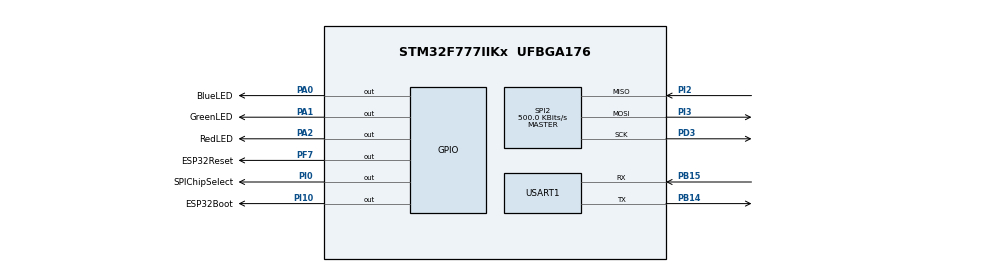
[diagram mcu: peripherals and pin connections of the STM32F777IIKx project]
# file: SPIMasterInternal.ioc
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Mcu.Family=STM32F7
Mcu.Name=STM32F777IIKx
Mcu.Package=UFBGA176
NVIC.PriorityGroup=NVIC_PRIORITYGROUP_4
NVIC.USART1_IRQn=true\:0\:0\:false\:false\:true\:true\:true
PA0/WKUP.GPIO_Label=BlueLED
PA0/WKUP.Signal=GPIO_Output
PA1.GPIO_Label=GreenLED
PA1.Signal=GPIO_Output
PA2.GPIO_Label=RedLED
PA2.Signal=GPIO_Output
PB14.Mode=Asynchronous
PB14.Signal=USART1_TX
PB15.Mode=Asynchronous
PB15.Signal=USART1_RX
PD3.Mode=Full_Duplex_Master
PD3.Signal=SPI2_SCK
PF7.GPIO_Label=ESP32Reset
PF7.GPIO_PuPd=GPIO_PULLUP
PF7.PinState=GPIO_PIN_SET
PF7.Signal=GPIO_Output
PI0.GPIO_Label=SPIChipSelect
PI0.PinState=GPIO_PIN_SET
PI0.Signal=GPIO_Output
PI10.GPIO_Label=ESP32Boot
PI10.GPIO_PuPd=GPIO_PULLUP
PI10.PinState=GPIO_PIN_SET
PI10.Signal=GPIO_Output
PI2.Mode=Full_Duplex_Master
PI2.Signal=SPI2_MISO
PI3.Mode=Full_Duplex_Master
PI3.Signal=SPI2_MOSI
ProjectManager.HeapSize=0x200
ProjectManager.StackSize=0x400
ProjectManager.TargetToolchain=Makefile
RCC.HSE_VALUE=25000000
RCC.HSI_VALUE=16000000
RCC.LSE_VALUE=32768
RCC.USBFreq_Value=96000000
RCC.VCOOutputFreq_Value=192000000
SPI2.BaudRatePrescaler=SPI_BAUDRATEPRESCALER_32
SPI2.CLKPhase=SPI_PHASE_2EDGE
SPI2.CLKPolarity=SPI_POLARITY_HIGH
SPI2.CalculateBaudRate=500.0 KBits/s
SPI2.DataSize=SPI_DATASIZE_8BIT
SPI2.Direction=SPI_DIRECTION_2LINES
SPI2.Mode=SPI_MODE_MASTER
SPI2.VirtualType=VM_MASTER
USART1.VirtualMode-Asynchronous=VM_ASYNC
board=custom

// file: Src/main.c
/* USER CODE BEGIN Header */
/**
  ******************************************************************************
  * @file           : main.c
  * @brief          : Main program body
  ******************************************************************************
  ** This notice applies to any and all portions of this file
  * that are not between comment pairs USER CODE BEGIN and
  * USER CODE END. Other portions of this file, whether
  * inserted by the user or by software development tools
  * are owned by their respective copyright owners.
  *
  * COPYRIGHT(c) 2019 STMicroelectronics
  *
  * Redistribution and use in source and binary forms, with or without modification,
  * are permitted provided that the following conditions are met:
  *   1. Redistributions of source code must retain the above copyright notice,
  *      this list of conditions and the following disclaimer.
  *   2. Redistributions in binary form must reproduce the above copyright notice,
  *      this list of conditions and the following disclaimer in the documentation
  *      and/or other materials provided with the distribution.
  *   3. Neither the name of STMicroelectronics nor the names of its contributors
  *      may be used to endorse or promote products derived from this software
  *      without specific prior written permission.
  *
  * THIS SOFTWARE IS PROVIDED BY THE COPYRIGHT HOLDERS AND CONTRIBUTORS "AS IS"
  * AND ANY EXPRESS OR IMPLIED WARRANTIES, INCLUDING, BUT NOT LIMITED TO, THE
  * IMPLIED WARRANTIES OF MERCHANTABILITY AND FITNESS FOR A PARTICULAR PURPOSE ARE
  * DISCLAIMED. IN NO EVENT SHALL THE COPYRIGHT HOLDER OR CONTRIBUTORS BE LIABLE
  * FOR ANY DIRECT, INDIRECT, INCIDENTAL, SPECIAL, EXEMPLARY, OR CONSEQUENTIAL
  * DAMAGES (INCLUDING, BUT NOT LIMITED TO, PROCUREMENT OF SUBSTITUTE GOODS OR
  * SERVICES; LOSS OF USE, DATA, OR PROFITS; OR BUSINESS INTERRUPTION) HOWEVER
  * CAUSED AND ON ANY THEORY OF LIABILITY, WHETHER IN CONTRACT, STRICT LIABILITY,
  * OR TORT (INCLUDING NEGLIGENCE OR OTHERWISE) ARISING IN ANY WAY OUT OF THE USE
  * OF THIS SOFTWARE, EVEN IF ADVISED OF THE POSSIBILITY OF SUCH DAMAGE.
  *
  ******************************************************************************
  */
/* USER CODE END Header */

#include "main.h"
#include "spi.h"
#include "usart.h"
#include "gpio.h"

/* USER CODE BEGIN Includes */

#include <string.h>
#include <stdio.h>

/* USER CODE END Includes */

void SystemClock_Config(void);

int main(void)
{

  /* MCU Configuration--------------------------------------------------------*/

  /* Reset of all peripherals, Initializes the Flash interface and the Systick. */
  HAL_Init();

  /* Configure the system clock */
  SystemClock_Config();

  /* Initialize all configured peripherals */
  MX_GPIO_Init();
  MX_USART1_UART_Init();
  MX_SPI2_Init();

  /* Infinite loop */
  /* USER CODE BEGIN WHILE */

    int bufferLength = 48;
    char sendBuffer[bufferLength];
    char receiveBuffer[bufferLength];
    int counter = 0;

    HAL_GPIO_WritePin(RedLED_GPIO_Port, RedLED_Pin, GPIO_PIN_SET);
    HAL_GPIO_WritePin(GreenLED_GPIO_Port, GreenLED_Pin, GPIO_PIN_SET);
    HAL_GPIO_WritePin(BlueLED_GPIO_Port, BlueLED_Pin, GPIO_PIN_SET);

    HAL_GPIO_WritePin(ESP32Boot_GPIO_Port, ESP32Boot_Pin, GPIO_PIN_SET);
    HAL_GPIO_WritePin(ESP32Reset_GPIO_Port, ESP32Reset_Pin, GPIO_PIN_RESET);
    HAL_Delay(1);
    HAL_GPIO_WritePin(ESP32Reset_GPIO_Port, ESP32Reset_Pin, GPIO_PIN_SET);
    HAL_GPIO_DeInit(ESP32Reset_GPIO_Port, ESP32Reset_Pin);

    while (1)
    {
      memset(sendBuffer, 0x00, sizeof(sendBuffer));
      memset(receiveBuffer, 0x00, bufferLength);
      snprintf(sendBuffer, bufferLength, "Hello, world %d", counter++);

      HAL_GPIO_WritePin(SPIChipSelect_GPIO_Port, SPIChipSelect_Pin, GPIO_PIN_RESET);
      HAL_Delay(6);
      HAL_SPI_TransmitReceive(&hspi2, (uint8_t *) sendBuffer, (uint8_t *) receiveBuffer, bufferLength, HAL_MAX_DELAY);
      HAL_Delay(20);
      HAL_GPIO_WritePin(SPIChipSelect_GPIO_Port, SPIChipSelect_Pin, GPIO_PIN_SET);

      strcat(receiveBuffer, "\n\x00");
      HAL_UART_Transmit(&huart1, (uint8_t *) receiveBuffer, strlen(receiveBuffer), HAL_MAX_DELAY);
      HAL_GPIO_TogglePin(BlueLED_GPIO_Port, BlueLED_Pin);
      HAL_Delay(500);

    /* USER CODE END WHILE */

    }
}

void SystemClock_Config(void)
{
  RCC_OscInitTypeDef RCC_OscInitStruct = {0};
  RCC_ClkInitTypeDef RCC_ClkInitStruct = {0};
  RCC_PeriphCLKInitTypeDef PeriphClkInitStruct = {0};

  /** Configure the main internal regulator output voltage
  */
  __HAL_RCC_PWR_CLK_ENABLE();
  __HAL_PWR_VOLTAGESCALING_CONFIG(PWR_REGULATOR_VOLTAGE_SCALE3);
  /** Initializes the CPU, AHB and APB busses clocks
  */
  RCC_OscInitStruct.OscillatorType = RCC_OSCILLATORTYPE_HSI;
  RCC_OscInitStruct.HSIState = RCC_HSI_ON;
  RCC_OscInitStruct.HSICalibrationValue = RCC_HSICALIBRATION_DEFAULT;
  RCC_OscInitStruct.PLL.PLLState = RCC_PLL_NONE;
  if (HAL_RCC_OscConfig(&RCC_OscInitStruct) != HAL_OK)
  {
    Error_Handler();
  }
  /** Initializes the CPU, AHB and APB busses clocks
  */
  RCC_ClkInitStruct.ClockType = RCC_CLOCKTYPE_HCLK|RCC_CLOCKTYPE_SYSCLK
                              |RCC_CLOCKTYPE_PCLK1|RCC_CLOCKTYPE_PCLK2;
  RCC_ClkInitStruct.SYSCLKSource = RCC_SYSCLKSOURCE_HSI;
  RCC_ClkInitStruct.AHBCLKDivider = RCC_SYSCLK_DIV1;
  RCC_ClkInitStruct.APB1CLKDivider = RCC_HCLK_DIV1;
  RCC_ClkInitStruct.APB2CLKDivider = RCC_HCLK_DIV1;

  if (HAL_RCC_ClockConfig(&RCC_ClkInitStruct, FLASH_LATENCY_0) != HAL_OK)
  {
    Error_Handler();
  }
  PeriphClkInitStruct.PeriphClockSelection = RCC_PERIPHCLK_USART1;
  PeriphClkInitStruct.Usart1ClockSelection = RCC_USART1CLKSOURCE_PCLK2;
  if (HAL_RCCEx_PeriphCLKConfig(&PeriphClkInitStruct) != HAL_OK)
  {
    Error_Handler();
  }
}

void Error_Handler(void)
{
}

/************************ (C) COPYRIGHT STMicroelectronics *****END OF FILE****/
